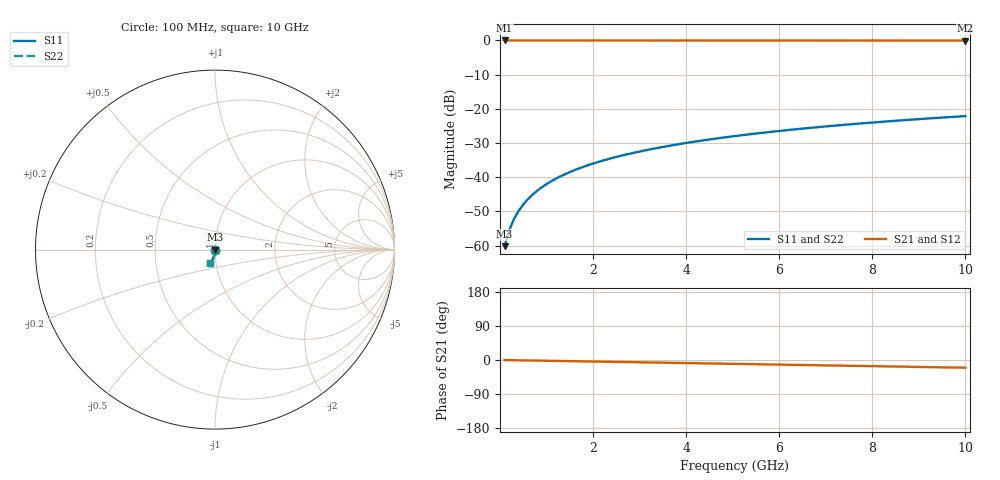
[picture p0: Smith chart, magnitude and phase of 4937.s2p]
# Hz S RI R 50.00
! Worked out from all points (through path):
!   100 points, 100 MHz to 10 GHz, reference 50 ohm
!   highest |S21| = -0.01 dB at 100 MHz (marker M1); lowest = 0.0 dB at 10 GHz (marker M2)
!   group delay of S21, straight-line fit = 5.65 ps
!   lowest |S11| = -60.2 dB at 100 MHz (marker M3), VSWR 1.00, Z = 50.1 - j0.0793 ohm
!   |S11| at or under -10 dB: start of sweep to end of sweep
!   |S22| runs from -60.2 to -22.1 dB; largest |S21 - S12| = 0
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1e8  0.000581 -0.000793  0.9994 -0.00352  0.9994 -0.00352  0.000581 -0.000793
2e8  0.000575 -0.00159  0.9994 -0.00703  0.9994 -0.00703  0.000575 -0.00159
3e8  0.000561 -0.00238  0.9993 -0.0106  0.9993 -0.0106  0.000561 -0.00238
4e8  0.000542 -0.00317  0.9993 -0.0141  0.9993 -0.0141  0.000542 -0.00317
5e8  0.000517 -0.00396  0.9992 -0.0176  0.9992 -0.0176  0.000517 -0.00396
6e8  0.000486 -0.00476  0.9992 -0.0211  0.9992 -0.0211  0.000486 -0.00476
7e8  0.00045 -0.00555  0.9991 -0.0246  0.9991 -0.0246  0.00045 -0.00555
8e8  0.000407 -0.00634  0.999 -0.0281  0.999 -0.0281  0.000407 -0.00634
9e8  0.000359 -0.00713  0.9988 -0.0317  0.9988 -0.0317  0.000359 -0.00713
1.1e9  0.000246 -0.00872  0.9986 -0.0387  0.9986 -0.0387  0.000246 -0.00872
1.4e9  3.44e-05 -0.0111  0.9981 -0.0492  0.9981 -0.0492  3.44e-05 -0.0111
1.8e9  -0.000327 -0.0143  0.9972 -0.0633  0.9972 -0.0633  -0.000327 -0.0143
2.1e9  -0.000657 -0.0166  0.9965 -0.0739  0.9965 -0.0739  -0.000657 -0.0166
2.5e9  -0.00118 -0.0198  0.9953 -0.0879  0.9953 -0.0879  -0.00118 -0.0198
2.9e9  -0.00178 -0.0229  0.9938 -0.102  0.9938 -0.102  -0.00178 -0.0229
3.4e9  -0.00267 -0.0268  0.9918 -0.1195  0.9918 -0.1195  -0.00267 -0.0268
4.2e9  -0.00437 -0.033  0.9878 -0.1475  0.9878 -0.1475  -0.00437 -0.033
5.1e9  -0.00671 -0.0398  0.9823 -0.1789  0.9823 -0.1789  -0.00671 -0.0398
5.9e9  -0.00916 -0.0458  0.9765 -0.2067  0.9765 -0.2067  -0.00916 -0.0458
6.7e9  -0.0119 -0.0516  0.9699 -0.2344  0.9699 -0.2344  -0.0119 -0.0516
8.4e9  -0.0189 -0.0634  0.9531 -0.2926  0.9531 -0.2926  -0.0189 -0.0634
1e10  -0.0268 -0.0736  0.9339 -0.3464  0.9339 -0.3464  -0.0268 -0.0736
